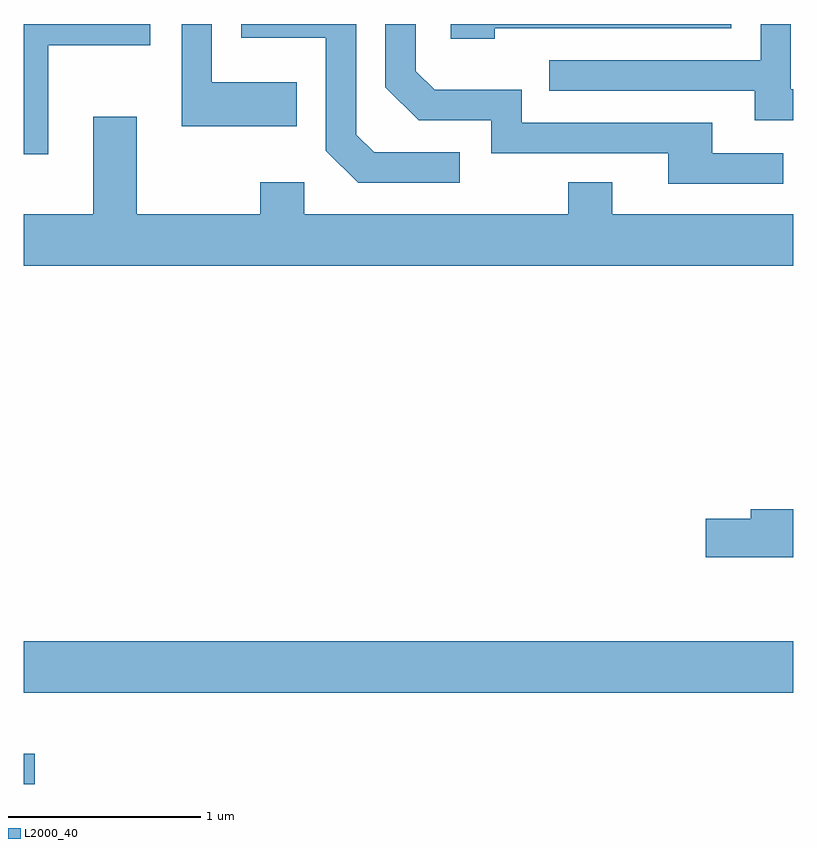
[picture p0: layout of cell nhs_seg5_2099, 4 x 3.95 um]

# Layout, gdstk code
import gdstk
lib = gdstk.Library(unit=1e-6, precision=1e-09)
def R(c, l, rs):  # rectangles x0, y0, x1, y1
    for r in rs: c.add(gdstk.rectangle(r[:2], r[2:], *l))
def P(c, l, *ps):  # polygons
    for p in ps: c.add(gdstk.Polygon(p, *l))
L2000_40 = (2000, 40)

nhs_seg5_2099 = lib.new_cell('nhs_seg5_2099')
R(nhs_seg5_2099, L2000_40, [(247.611,1434.121,247.668,1434.279), (247.611,1434.596,251.611,1434.864)])
P(nhs_seg5_2099, L2000_40, [(247.739,1437.961),(248.269,1437.961),(248.269,1438.072),(247.611,1438.072),(247.611,1437.396),(247.739,1437.396)],
  [(251.558,1437.399),(251.189,1437.399),(251.189,1437.559),(250.199,1437.559),(250.199,1437.729),(249.747,1437.729),(249.649,1437.827),(249.649,1438.072),(249.491,1438.072),(249.491,1437.744),(249.664,1437.571),(250.041,1437.571),(250.041,1437.401),(250.961,1437.401),(250.961,1437.241),(251.558,1437.241)],
  [(249.029,1437.769),(248.589,1437.769),(248.589,1438.072),(248.431,1438.072),(248.431,1437.541),(249.029,1437.541)],
  [(249.878,1437.404),(249.432,1437.404),(249.339,1437.497),(249.339,1438.072),(248.741,1438.072),(248.741,1438.001),(249.181,1438.001),(249.181,1437.414),(249.349,1437.246),(249.878,1437.246)],
  [(250.059,1438.051),(251.289,1438.051),(251.289,1438.072),(249.831,1438.072),(249.831,1437.996),(250.059,1437.996)],
  [(251.611,1437.734),(251.599,1437.734),(251.599,1438.072),(251.441,1438.072),(251.441,1437.884),(250.343,1437.884),(250.343,1437.726),(251.411,1437.726),(251.411,1437.571),(251.611,1437.571)],
  [(250.441,1437.249),(250.441,1437.084),(249.069,1437.084),(249.069,1437.249),(248.841,1437.249),(248.841,1437.084),(248.199,1437.084),(248.199,1437.589),(247.971,1437.589),(247.971,1437.084),(247.611,1437.084),(247.611,1436.816),(251.611,1436.816),(251.611,1437.084),(250.669,1437.084),(250.669,1437.249)],
  [(251.611,1435.549),(251.391,1435.549),(251.391,1435.499),(251.156,1435.499),(251.156,1435.301),(251.611,1435.301)])

lib.write_gds('nhs_seg5_2099.gds')
